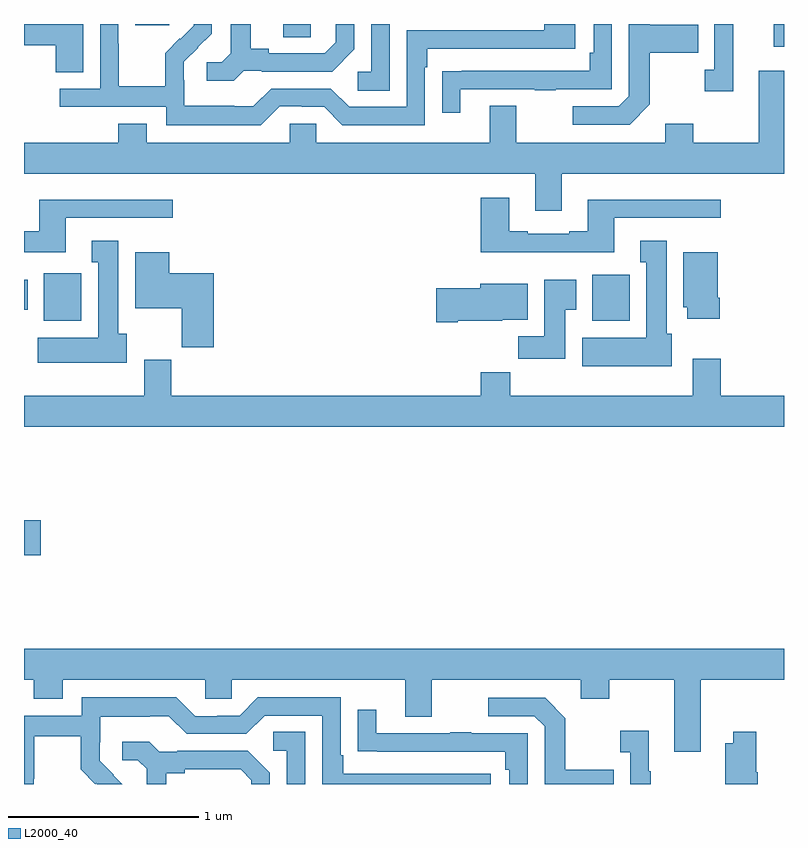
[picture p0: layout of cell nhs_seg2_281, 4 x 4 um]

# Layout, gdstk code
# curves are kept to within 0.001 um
import gdstk
lib = gdstk.Library(unit=1e-6, precision=1e-09)
def R(c, l, rs):  # rectangles x0, y0, x1, y1
    for r in rs: c.add(gdstk.rectangle(r[:2], r[2:], *l))
def P(c, l, *ps):  # polygons
    for p in ps: c.add(gdstk.Polygon(p, *l))
L2000_40 = (2000, 40)

nhs_seg2_281 = lib.new_cell('nhs_seg2_281')
R(nhs_seg2_281, L2000_40, [(125,603.005,125.089,603.188), (125.105,604.238,125.301,604.489), (127.991,604.238,128.188,604.48), (125,604.297,125.02,604.453), (128.946,605.681,129,605.8), (126.365,605.731,126.51,605.8), (125.585,605.793,125.764,605.8)])
P(nhs_seg2_281, L2000_40, [(128.293,605.377),(128.293,605.65),(128.549,605.65),(128.549,605.797),(128.293,605.797),(128.293,605.8),(128.184,605.8),(128.184,605.421),(128.13,605.367),(127.887,605.367),(127.887,605.271),(128.187,605.271)],
  [(128.732,605.8),(128.634,605.8),(128.634,605.558),(128.583,605.558),(128.583,605.445),(128.732,605.445)],
  [(125.311,605.8),(125,605.8),(125,605.687),(125.168,605.687),(125.168,605.545),(125.311,605.545)],
  [(126.156,605.553),(126.25,605.553),(126.25,605.55),(126.622,605.55),(126.738,605.666),(126.738,605.8),(126.641,605.8),(126.641,605.703),(126.584,605.646),(126.289,605.646),(126.289,605.669),(126.193,605.669),(126.193,605.8),(126.089,605.8),(126.089,605.645),(126.042,605.598),(125.961,605.598),(125.961,605.501),(126.104,605.501)],
  [(127.297,605.457),(127.687,605.457),(127.687,605.452),(127.799,605.452),(127.799,605.457),(128.094,605.457),(128.094,605.8),(127.998,605.8),(127.998,605.65),(127.978,605.65),(127.978,605.553),(127.303,605.553),(127.303,605.552),(127.201,605.552),(127.201,605.334),(127.297,605.334)],
  [(126.924,605.8),(126.828,605.8),(126.828,605.55),(126.756,605.55),(126.756,605.449),(126.924,605.449)],
  [(126.345,605.367),(126.461,605.367),(126.461,605.364),(126.579,605.364),(126.675,605.268),(127.11,605.268),(127.11,605.573),(127.123,605.573),(127.123,605.67),(127.9,605.67),(127.9,605.8),(127.739,605.8),(127.739,605.766),(127.014,605.766),(127.014,605.364),(126.711,605.364),(126.615,605.46),(126.3,605.46),(126.207,605.367),(126.107,605.367),(126.107,605.371),(125.844,605.371),(125.844,605.505),(125.842,605.505),(125.842,605.602),(125.988,605.75),(125.988,605.8),(125.894,605.8),(125.894,605.792),(125.823,605.721),(125.82,605.724),(125.743,605.647),(125.743,605.473),(125.499,605.473),(125.499,605.696),(125.496,605.696),(125.496,605.8),(125.4,605.8),(125.4,605.46),(125.187,605.46),(125.187,605.364),(125.748,605.364),(125.748,605.267),(126.245,605.267)],
  [(127.831,605.012),(129,605.012),(129,605.554),(128.867,605.554),(128.867,605.176),(128.523,605.176),(128.523,605.275),(128.375,605.275),(128.375,605.176),(127.591,605.176),(127.591,605.371),(127.451,605.371),(127.451,605.176),(126.537,605.176),(126.537,605.274),(126.399,605.274),(126.399,605.176),(125.647,605.176),(125.647,605.275),(125.495,605.275),(125.495,605.176),(125,605.176),(125,605.012),(127.691,605.012),(127.691,604.818),(127.831,604.818)],
  [(128.107,604.779),(128.668,604.779),(128.668,604.876),(127.967,604.876),(127.967,604.708),(127.871,604.708),(127.871,604.695),(127.651,604.695),(127.651,604.708),(127.555,604.708),(127.555,604.885),(127.403,604.885),(127.403,604.598),(128.107,604.598)],
  [(125.221,604.779),(125.782,604.779),(125.782,604.876),(125.081,604.876),(125.081,604.708),(125,604.708),(125,604.598),(125.221,604.598)],
  [(128.41,604.17),(128.383,604.17),(128.383,604.66),(128.243,604.66),(128.243,604.547),(128.276,604.547),(128.276,604.15),(127.937,604.15),(127.937,603.998),(128.41,603.998)],
  [(125.542,604.17),(125.497,604.17),(125.497,604.66),(125.357,604.66),(125.357,604.547),(125.39,604.547),(125.39,604.15),(125.073,604.15),(125.073,604.016),(125.542,604.016)],
  [(128.663,604.36),(128.65,604.36),(128.65,604.6),(128.471,604.6),(128.471,604.308),(128.492,604.308),(128.492,604.248),(128.663,604.248)],
  [(125.999,604.489),(125.764,604.489),(125.764,604.6),(125.585,604.6),(125.585,604.304),(125.83,604.304),(125.83,604.099),(125.999,604.099)],
  [(127.849,604.297),(127.906,604.297),(127.906,604.453),(127.739,604.453),(127.739,604.156),(127.6,604.156),(127.6,604.038),(127.849,604.038)],
  [(127.282,604.238),(127.518,604.238),(127.518,604.244),(127.651,604.244),(127.651,604.432),(127.4,604.432),(127.4,604.409),(127.17,604.409),(127.17,604.231),(127.282,604.231)],
  [(129,603.844),(128.667,603.844),(128.667,604.039),(128.519,604.039),(128.519,603.844),(127.559,603.844),(127.559,603.968),(127.403,603.968),(127.403,603.844),(125.776,603.844),(125.776,604.034),(125.633,604.034),(125.633,603.844),(125,603.844),(125,603.68),(129,603.68)],
  [(128.563,602.348),(129,602.348),(129,602.512),(125,602.512),(125,602.348),(125.051,602.348),(125.051,602.249),(125.203,602.249),(125.203,602.348),(125.955,602.348),(125.955,602.25),(126.093,602.25),(126.093,602.348),(127.007,602.348),(127.007,602.154),(127.147,602.154),(127.147,602.348),(127.931,602.348),(127.931,602.249),(128.079,602.249),(128.079,602.348),(128.423,602.348),(128.423,601.971),(128.563,601.971)],
  [(125.052,601.828),(125.055,601.828),(125.055,602.052),(125.299,602.052),(125.299,601.877),(125.376,601.8),(125.379,601.803),(125.382,601.8),(125.518,601.8),(125.398,601.922),(125.398,602.019),(125.4,602.019),(125.4,602.153),(125.663,602.153),(125.663,602.157),(125.763,602.157),(125.856,602.064),(126.171,602.064),(126.267,602.16),(126.57,602.16),(126.57,601.8),(127.456,601.8),(127.456,601.854),(126.679,601.854),(126.679,601.951),(126.666,601.951),(126.666,602.256),(126.231,602.256),(126.135,602.16),(126.017,602.16),(126.017,602.157),(125.901,602.157),(125.801,602.257),(125.304,602.257),(125.304,602.16),(125,602.16),(125,601.8),(125.052,601.8)],
  [(128.105,601.875),(127.849,601.875),(127.849,602.147),(127.743,602.253),(127.443,602.253),(127.443,602.157),(127.686,602.157),(127.74,602.103),(127.74,601.8),(128.105,601.8)],
  [(127.65,602.067),(127.355,602.067),(127.355,602.072),(127.243,602.072),(127.243,602.067),(126.853,602.067),(126.853,602.191),(126.757,602.191),(126.757,601.972),(126.859,601.972),(126.859,601.971),(127.534,601.971),(127.534,601.874),(127.554,601.874),(127.554,601.8),(127.65,601.8)],
  [(128.299,601.867),(128.287,601.867),(128.287,602.08),(128.139,602.08),(128.139,601.967),(128.19,601.967),(128.19,601.8),(128.299,601.8)],
  [(126.48,602.075),(126.312,602.075),(126.312,601.974),(126.384,601.974),(126.384,601.8),(126.48,601.8)],
  [(128.862,601.861),(128.854,601.861),(128.854,602.074),(128.732,602.074),(128.732,602.014),(128.692,602.014),(128.692,601.8),(128.862,601.8)],
  [(125.749,601.856),(125.845,601.856),(125.845,601.878),(126.14,601.878),(126.197,601.821),(126.197,601.8),(126.294,601.8),(126.294,601.858),(126.178,601.974),(125.806,601.974),(125.806,601.971),(125.712,601.971),(125.66,602.023),(125.517,602.023),(125.517,601.926),(125.598,601.926),(125.645,601.879),(125.645,601.8),(125.749,601.8)])

lib.write_gds('nhs_seg2_281.gds')
